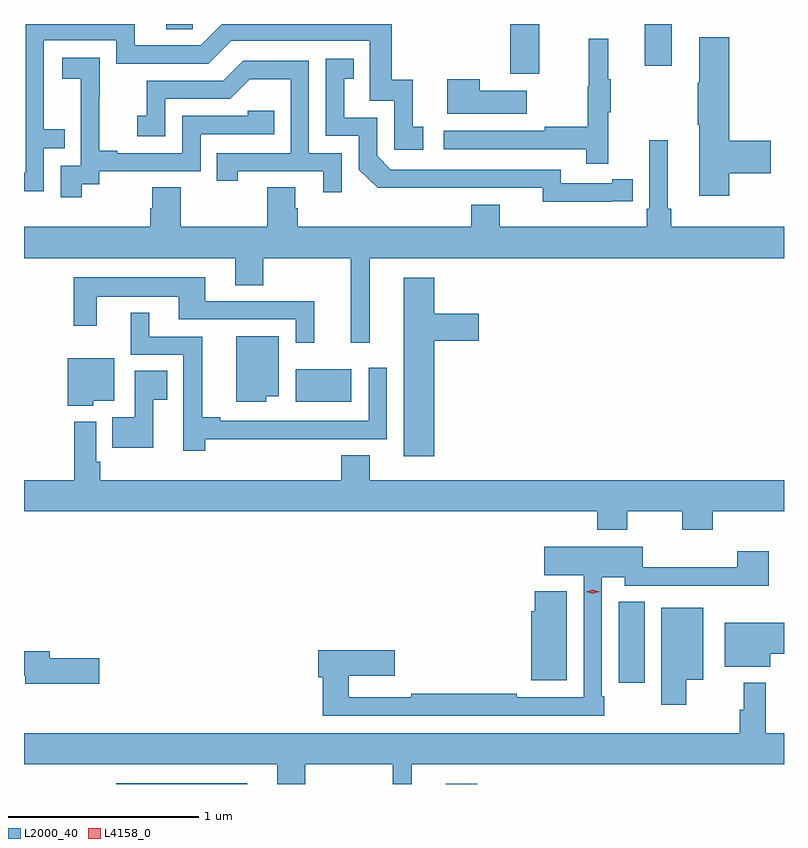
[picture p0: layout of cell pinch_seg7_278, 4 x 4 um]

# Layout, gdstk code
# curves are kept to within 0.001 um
import gdstk
lib = gdstk.Library(unit=1e-6, precision=1e-09)
def R(c, l, rs):  # rectangles x0, y0, x1, y1
    for r in rs: c.add(gdstk.rectangle(r[:2], r[2:], *l))
def P(c, l, *ps):  # polygons
    for p in ps: c.add(gdstk.Polygon(p, *l))
L2000_40 = (2000, 40)
L4158_0 = (4158, 0)

pinch_seg7_278 = lib.new_cell('pinch_seg7_278')
R(pinch_seg7_278, L2000_40, [(515.25,1044.468,515.941,1044.472), (516.986,1044.468,517.15,1044.469), (517.895,1045.002,518.032,1045.427), (516.194,1046.48,516.487,1046.65), (517.325,1048.206,517.477,1048.468), (518.033,1048.248,518.173,1048.468), (515.513,1048.441,515.652,1048.468)])
P(pinch_seg7_278, L2000_40, [(514.869,1047.813),(514.979,1047.813),(514.979,1047.914),(514.869,1047.914),(514.869,1048.383),(515.25,1048.383),(515.25,1048.26),(515.736,1048.26),(515.856,1048.38),(516.585,1048.38),(516.585,1048.065),(516.714,1048.065),(516.714,1047.807),(516.865,1047.807),(516.865,1047.927),(516.812,1047.927),(516.812,1048.174),(516.701,1048.174),(516.701,1048.468),(515.806,1048.468),(515.694,1048.356),(515.347,1048.356),(515.347,1048.468),(514.773,1048.468),(514.773,1047.684),(514.765,1047.684),(514.765,1047.588),(514.869,1047.588)],
  [(518.477,1047.683),(518.695,1047.683),(518.695,1047.853),(518.477,1047.853),(518.477,1048.399),(518.318,1048.399),(518.318,1048.16),(518.311,1048.16),(518.311,1047.937),(518.318,1047.937),(518.318,1047.564),(518.477,1047.564)],
  [(517.841,1048.003),(517.852,1048.003),(517.852,1048.177),(517.841,1048.177),(517.841,1048.39),(517.738,1048.39),(517.738,1048.14),(517.731,1048.14),(517.731,1047.926),(517.507,1047.926),(517.507,1047.906),(516.975,1047.906),(516.975,1047.81),(517.723,1047.81),(517.723,1047.732),(517.841,1047.732)],
  [(515.068,1047.625),(515.16,1047.625),(515.16,1047.693),(515.694,1047.693),(515.694,1047.888),(516.083,1047.888),(516.083,1048.011),(515.943,1048.011),(515.943,1047.984),(515.598,1047.984),(515.598,1047.789),(515.257,1047.789),(515.257,1047.802),(515.162,1047.802),(515.162,1048.085),(515.163,1048.085),(515.163,1048.291),(514.965,1048.291),(514.965,1048.181),(515.063,1048.181),(515.063,1047.953),(515.064,1047.953),(515.064,1047.723),(514.959,1047.723),(514.959,1047.555),(515.068,1047.555)],
  [(517.862,1047.534),(517.97,1047.534),(517.97,1047.65),(517.862,1047.65),(517.862,1047.63),(517.59,1047.63),(517.59,1047.702),(516.696,1047.702),(516.624,1047.774),(516.624,1047.975),(516.451,1047.975),(516.451,1048.179),(516.5,1048.179),(516.5,1048.285),(516.354,1048.285),(516.354,1047.879),(516.528,1047.879),(516.528,1047.702),(516.626,1047.605),(517.494,1047.606),(517.494,1047.533)],
  [(516.438,1047.789),(516.264,1047.789),(516.264,1048.275),(515.918,1048.275),(515.813,1048.17),(515.41,1048.17),(515.41,1047.985),(515.361,1047.985),(515.361,1047.876),(515.508,1047.876),(515.508,1048.074),(515.85,1048.074),(515.954,1048.178),(516.168,1048.178),(516.168,1047.789),(515.779,1047.789),(515.779,1047.642),(515.89,1047.642),(515.89,1047.693),(516.341,1047.693),(516.341,1047.582),(516.438,1047.582)],
  [(517.411,1048.117),(517.163,1048.117),(517.163,1048.177),(516.992,1048.177),(516.992,1047.995),(517.411,1047.995)],
  [(516.584,1047.236),(518.765,1047.236),(518.765,1047.4),(518.171,1047.4),(518.171,1047.496),(518.152,1047.496),(518.152,1047.856),(518.055,1047.856),(518.055,1047.496),(518.042,1047.496),(518.042,1047.4),(517.27,1047.4),(517.27,1047.517),(517.118,1047.517),(517.118,1047.4),(516.206,1047.4),(516.206,1047.498),(516.193,1047.498),(516.193,1047.608),(516.046,1047.608),(516.046,1047.4),(515.589,1047.4),(515.589,1047.608),(515.441,1047.608),(515.441,1047.498),(515.429,1047.498),(515.429,1047.4),(514.765,1047.4),(514.765,1047.236),(515.876,1047.236),(515.876,1047.094),(516.024,1047.094),(516.024,1047.236),(516.485,1047.236),(516.485,1046.79),(516.584,1046.79)],
  [(516.293,1047.009),(515.719,1047.009),(515.719,1047.136),(515.028,1047.136),(515.028,1046.88),(515.149,1046.88),(515.149,1047.032),(515.579,1047.032),(515.579,1046.913),(516.195,1046.913),(516.195,1046.79),(516.293,1046.79)],
  [(516.923,1046.801),(517.159,1046.801),(517.159,1046.943),(516.923,1046.943),(516.923,1047.133),(516.764,1047.133),(516.764,1046.193),(516.923,1046.193)],
  [(515.72,1046.282),(516.35,1046.282),(516.35,1046.283),(516.675,1046.283),(516.675,1046.659),(516.579,1046.659),(516.579,1046.379),(515.797,1046.379),(515.797,1046.399),(515.702,1046.399),(515.702,1046.823),(515.425,1046.823),(515.425,1046.947),(515.327,1046.947),(515.327,1046.727),(515.604,1046.727),(515.604,1046.223),(515.72,1046.223)],
  [(516.04,1046.51),(516.106,1046.51),(516.106,1046.824),(515.882,1046.824),(515.882,1046.48),(516.04,1046.48)],
  [(515.13,1046.486),(515.239,1046.486),(515.239,1046.71),(514.994,1046.71),(514.994,1046.459),(515.13,1046.459)],
  [(515.446,1046.491),(515.519,1046.491),(515.519,1046.642),(515.349,1046.642),(515.349,1046.398),(515.23,1046.398),(515.23,1046.237),(515.446,1046.237)],
  [(517.941,1045.904),(518.23,1045.904),(518.23,1045.805),(518.39,1045.805),(518.39,1045.904),(518.765,1045.904),(518.765,1046.068),(516.586,1046.068),(516.586,1046.198),(516.434,1046.198),(516.434,1046.068),(515.165,1046.068),(515.165,1046.164),(515.145,1046.164),(515.145,1046.374),(515.029,1046.374),(515.029,1046.068),(514.765,1046.068),(514.765,1045.904),(517.781,1045.904),(517.781,1045.805),(517.941,1045.805)],
  [(517.819,1044.931),(517.806,1044.931),(517.806,1045.556),(517.926,1045.556),(517.926,1045.512),(518.437,1045.512),(518.437,1045.511),(518.684,1045.511),(518.684,1045.693),(518.519,1045.693),(518.519,1045.61),(518.022,1045.61),(518.022,1045.717),(517.503,1045.717),(517.503,1045.568),(517.71,1045.568),(517.71,1044.924),(517.358,1044.924),(517.358,1044.944),(516.802,1044.944),(516.802,1044.924),(516.473,1044.924),(516.473,1045.037),(516.715,1045.037),(516.715,1045.172),(516.314,1045.172),(516.314,1045.03),(516.337,1045.03),(516.337,1044.828),(517.819,1044.828)],
  [(517.621,1045.483),(517.454,1045.483),(517.454,1045.377),(517.436,1045.377),(517.436,1045.013),(517.621,1045.013)],
  [(518.25,1045.016),(518.341,1045.016),(518.341,1045.396),(518.12,1045.396),(518.12,1044.885),(518.25,1044.885)],
  [(518.692,1045.154),(518.765,1045.154),(518.765,1045.318),(518.453,1045.318),(518.453,1045.085),(518.692,1045.085)],
  [(515.161,1045.13),(514.9,1045.13),(514.9,1045.166),(514.765,1045.166),(514.765,1045.038),(514.772,1045.038),(514.772,1044.995),(515.161,1044.995)],
  [(516.246,1044.572),(516.707,1044.572),(516.707,1044.468),(516.806,1044.468),(516.806,1044.572),(518.765,1044.572),(518.765,1044.736),(518.669,1044.736),(518.669,1045),(518.552,1045),(518.552,1044.86),(518.533,1044.86),(518.533,1044.736),(514.765,1044.736),(514.765,1044.572),(516.098,1044.572),(516.098,1044.468),(516.246,1044.468)])
P(pinch_seg7_278, L4158_0, [(517.759,1045.47),(517.724,1045.48),(517.724,1045.48),(517.724,1045.48),(517.759,1045.49),(517.793,1045.479),(517.794,1045.479),(517.793,1045.479)])

lib.write_gds('pinch_seg7_278.gds')
